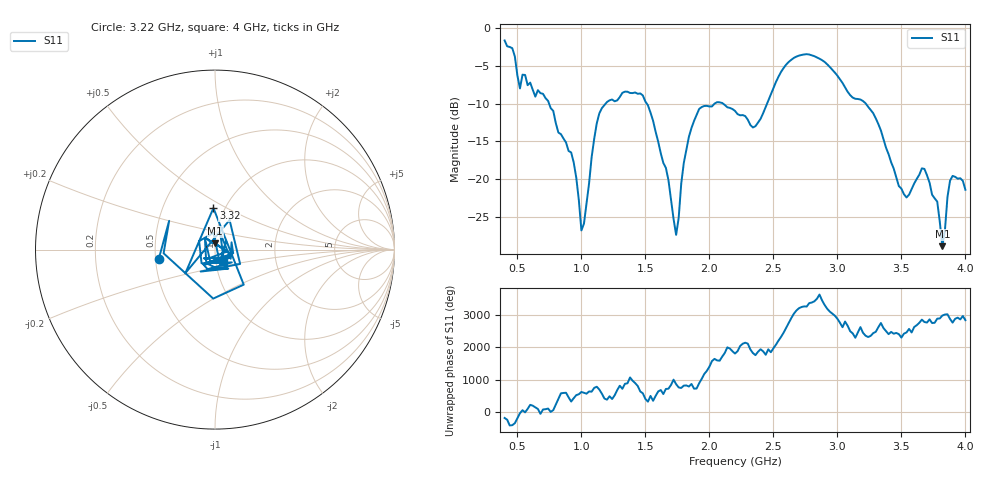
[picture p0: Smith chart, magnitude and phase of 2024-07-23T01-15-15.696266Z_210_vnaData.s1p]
!Created with skrf (http://scikit-rf.org).
# Hz S RI R 50.0
!freq ReS11 ImS11
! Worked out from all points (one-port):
!   181 points, 400 MHz to 4 GHz, reference 50 ohm
!   lowest |S11| = -28.9 dB at 3.82 GHz (marker M1), VSWR 1.07, Z = 50 + j3.59 ohm
!   |S11| at or under -10 dB: 747.5 MHz to 1.189 GHz (441.7 MHz wide, 45.6 % of centre); 1.511 GHz to 2.04 GHz (529.3 MHz wide, 29.8 % of centre); 3.222 GHz to end of sweep (the widest 3 of 4)
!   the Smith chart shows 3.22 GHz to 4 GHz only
!   S11 on the Smith chart (normalised r, x): 3.22 GHz: 0.52, -0.06; 3.32 GHz: 0.88, +0.43; 4 GHz: 1.10, -0.15
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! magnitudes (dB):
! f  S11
! 400 MHz  -1.6
! 460 MHz  -2.6
! 520 MHz  -8.0
! 700 MHz  -8.7
! 860 MHz  -14.6
! 940 MHz  -17.8
! 1 GHz  -26.8
! 1.14 GHz  -11.3
! 1.3 GHz  -9.1
! 1.52 GHz  -10.2
! 1.66 GHz  -18.5
! 1.74 GHz  -27.4
! 1.76 GHz  -25.1
! 1.8 GHz  -17.9
! 1.92 GHz  -10.7
! 2.2 GHz  -11.0
! 2.36 GHz  -13.0
! 2.66 GHz  -3.9
! 2.88 GHz  -4.2
! 3.1 GHz  -8.9
! 3.22 GHz  -9.9
! 3.32 GHz  -12.7
! 3.56 GHz  -22.1
! 3.68 GHz  -18.7
! 3.78 GHz  -23.0
! 3.82 GHz  -28.9
! 3.88 GHz  -20.2
! 4 GHz  -21.4
